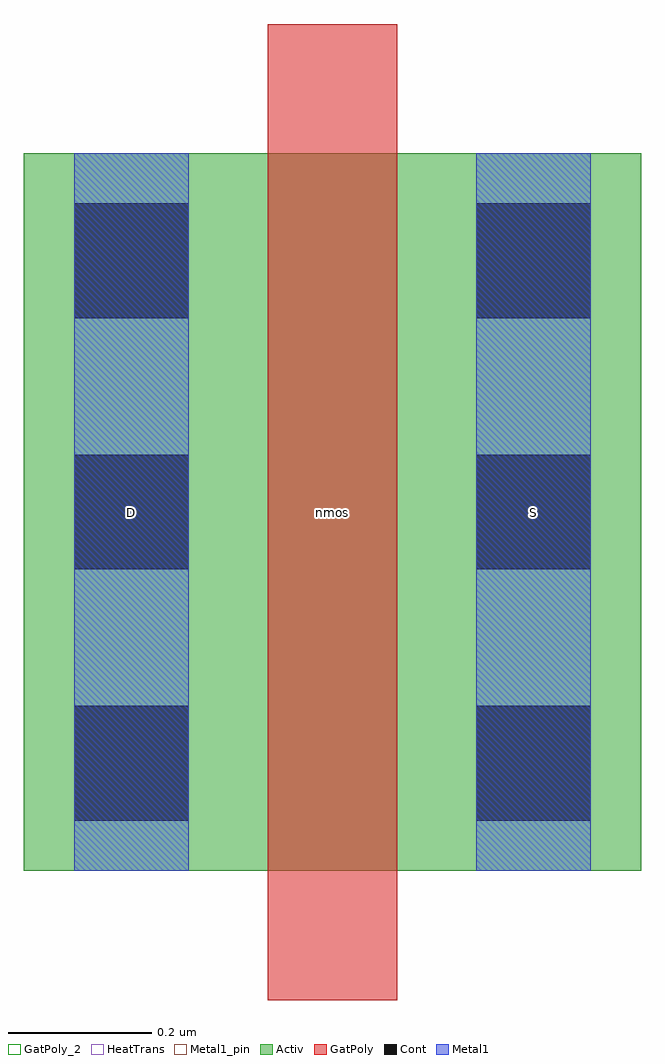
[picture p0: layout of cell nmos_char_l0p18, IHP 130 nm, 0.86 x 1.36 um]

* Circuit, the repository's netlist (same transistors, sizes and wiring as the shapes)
* nmos_char_l0p18 — generated from DeviceSpec; do not edit by hand
.SUBCKT nmos_char_l0p18 D G S
M1 D G S sub sg13_lv_nmos w=1u l=0.18u ng=1 m=1
.ENDS nmos_char_l0p18

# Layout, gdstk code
import gdstk
lib = gdstk.Library(unit=1e-6, precision=1e-09)
def R(c, l, rs):  # rectangles x0, y0, x1, y1
    for r in rs: c.add(gdstk.rectangle(r[:2], r[2:], *l))
def A(c, l, x, y, w, h, nx, ny, dx, dy):  # array of equal rectangles
    R(c, l, [(x+i*dx, y+j*dy, x+i*dx+w, y+j*dy+h) for i in range(nx) for j in range(ny)])
Activ = (1, 0)
GatPoly = (5, 0)
GatPoly_2 = (5, 2)
Cont = (6, 0)
Metal1 = (8, 0)
Metal1_pin = (8, 2)
HeatTrans = (51, 0)

nmos_char_l0p18 = lib.new_cell('nmos_char_l0p18')
R(nmos_char_l0p18, Activ, [(0,0,0.3,0.3), (0,0,0.86,1), (0.56,0,0.86,0.3)])
R(nmos_char_l0p18, GatPoly, [(0.34,-0.18,0.52,1.18)])
R(nmos_char_l0p18, GatPoly_2, [(0.34,-0.18,0.52,1.18)])
A(nmos_char_l0p18, Cont, 0.07, 0.07, 0.16, 0.16, 1, 3, 0, 0.35)
A(nmos_char_l0p18, Cont, 0.63, 0.07, 0.16, 0.16, 1, 3, 0, 0.35)
R(nmos_char_l0p18, Metal1, [(0.07,0,0.23,1), (0.63,0,0.79,1)])
R(nmos_char_l0p18, Metal1_pin, [(0.07,0,0.23,1), (0.63,0,0.79,1)])
R(nmos_char_l0p18, HeatTrans, [(0.34,-0.18,0.52,1.18)])
nmos_char_l0p18.add(gdstk.Label('nmos', (0.43,0.5), layer=63, texttype=0))
nmos_char_l0p18.add(gdstk.Label('nmos', (0.43,0.5), layer=51, texttype=0))
nmos_char_l0p18.add(gdstk.Label('D', (0.15,0.5), layer=8, texttype=25))
nmos_char_l0p18.add(gdstk.Label('S', (0.71,0.5), layer=8, texttype=25))

lib.write_gds('nmos_char_l0p18.gds')
